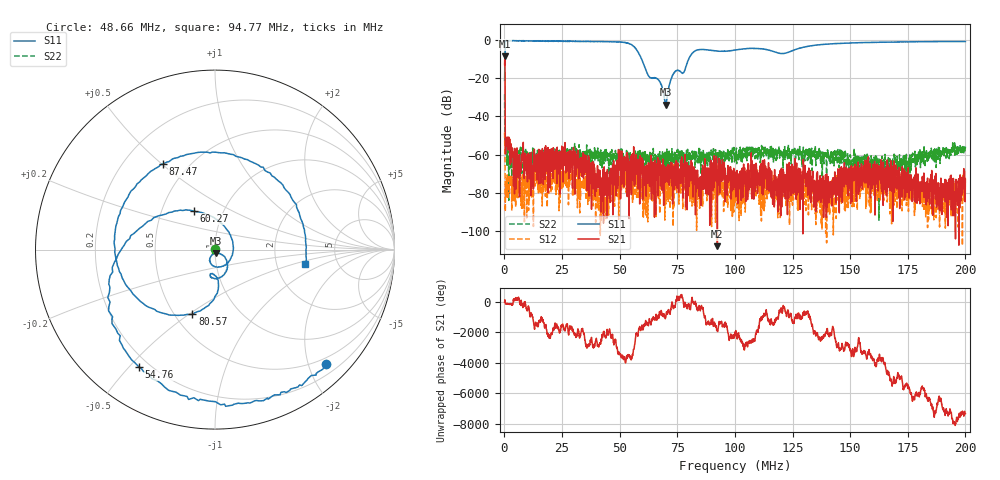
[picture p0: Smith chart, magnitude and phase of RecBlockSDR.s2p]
! 23-Mar-26 11:40:10 AM
! E:\UPDATEDVNAMEASUREMENTS\REC\RECBLOCKSDR.S2P
! CHANNEL.1
! TR.MEASUREMENT
! CORRECTED.DATA
# GHZ S RI R 50.0
! FREQ.GHZ  S11RE  S11IM  S21RE  S21IM  S12RE  S12IM  S22RE  S22IM
!; PortSelection: Port_12
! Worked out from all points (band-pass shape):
!   2000 points, 50 kHz to 200 MHz, reference 50 ohm
!   highest |S21| = -8.48 dB at 150 kHz (marker M1); lowest = -108.0 dB at 92.37 MHz (marker M2)
!   |S21| within 3 dB of the highest: 81.05 kHz to 182.4 kHz (101.4 kHz wide, 77 % of centre)
!   lowest |S11| = -33.9 dB at 70.07 MHz (marker M3), VSWR 1.04, Z = 50.6 - j1.92 ohm
!   |S11| at or under -10 dB: start of sweep to 264.9 kHz; 59.49 MHz to 79.9 MHz (20.41 MHz wide, 29.3 % of centre)
!   |S22| runs from -94.5 to -28.5 dB; largest |S21 - S12| = 0.38
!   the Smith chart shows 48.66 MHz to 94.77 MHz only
!   S11 on the Smith chart (normalised r, x): 48.66 MHz: 0.38, -2.31; 54.76 MHz: 0.16, -0.53; 60.27 MHz: 0.73, +0.33; 80.57 MHz: 0.61, -0.52; 87.47 MHz: 0.36, +0.50; 94.77 MHz: 2.92, -0.65
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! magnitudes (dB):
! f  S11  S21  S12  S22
! 50 kHz  -21.2  -12.8  -48.4  -28.5
! 150 kHz  -14.2  -8.5  -58.4  -47.7
! 1.35 MHz  -0.4  -54.4  -72.5  -65.3
! 4.651 MHz  -0.4  -64.4  -77.0  -59.2
! 21.86 MHz  -0.5  -67.7  -74.9  -58.6
! 33.46 MHz  -0.7  -69.0  -77.1  -63.6
! 44.56 MHz  -0.8  -77.6  -76.8  -60.3
! 48.66 MHz  -1.0  -65.6  -71.6  -59.6
! 54.76 MHz  -2.2  -60.9  -72.9  -61.4
! 60.27 MHz  -12.2  -71.7  -92.8  -61.5
! 66.77 MHz  -20.7  -70.7  -70.1  -63.1
! 70.07 MHz  -33.9  -68.6  -85.9  -66.2
! 73.37 MHz  -17.7  -67.6  -65.3  -63.6
! 80.57 MHz  -8.4  -70.1  -79.2  -62.3
! 87.47 MHz  -5.1  -80.7  -76.0  -63.5
! 92.37 MHz  -5.8  -108.0  -75.9  -61.5
! 94.77 MHz  -5.8  -70.6  -78.4  -65.0
! 100.1 MHz  -5.2  -77.1  -82.8  -59.3
! 133.4 MHz  -2.9  -75.8  -84.5  -58.7
! 166.7 MHz  -1.0  -68.7  -72.2  -63.3
! 188.3 MHz  -0.8  -77.8  -86.3  -56.2
! 200 MHz  -0.7  -73.0  -80.3  -55.9
